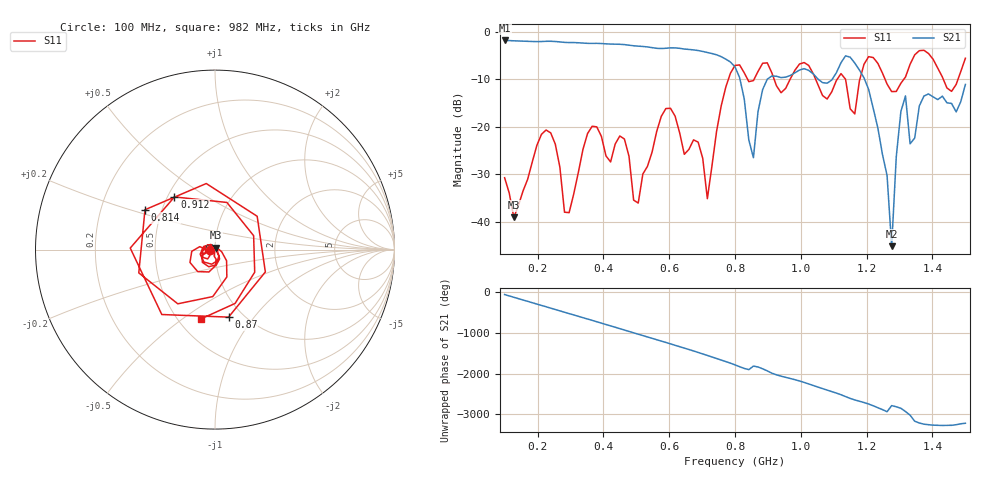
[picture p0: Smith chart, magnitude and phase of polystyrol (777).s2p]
! NanoVNA-App
! Date: 2025-09-25 15:35:56
! Start: 100MHz Stop: 1,5GHz Points: 101
! S-Parameter data: F S11 S21 S12 S22
# Hz S RI R 50
!  Frequency  S11_Real  S11_Imag  S21_Real  S21_Imag  S12_Real  S12_Imag  S22_Real  S22_Imag
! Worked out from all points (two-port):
!   101 points, 100 MHz to 1.5 GHz, reference 50 ohm
!   highest |S21| = -1.80 dB at 100 MHz (marker M1); lowest = -45.1 dB at 1.276 GHz (marker M2)
!   |S21| within 3 dB of the highest: start of sweep to 742.8 MHz
!   lowest |S11| = -39.1 dB at 128 MHz (marker M3), VSWR 1.02, Z = 50.3 + j1.06 ohm
!   |S11| at or under -10 dB: start of sweep to 779.9 MHz; 1.045 GHz to 1.11 GHz (65.22 MHz wide, 6.05 % of centre); 1.256 GHz to 1.313 GHz (56.59 MHz wide, 4.41 % of centre)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
!   S12 and S22 are empty: the file has one direction only
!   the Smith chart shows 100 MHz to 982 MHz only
!   S11 on the Smith chart (normalised r, x): 100 MHz: 0.94, -0.01; 814 MHz: 0.40, +0.22; 870 MHz: 0.86, -0.76; 912 MHz: 0.54, +0.37; 982 MHz: 0.64, -0.59
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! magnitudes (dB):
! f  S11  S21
! 100 MHz  -30.7  -1.8
! 128 MHz  -39.1  -1.9
! 212 MHz  -21.6  -2.0
! 282 MHz  -38.0  -2.2
! 338 MHz  -24.8  -2.3
! 464 MHz  -22.6  -2.7
! 506 MHz  -36.1  -3.0
! 576 MHz  -17.8  -3.5
! 716 MHz  -35.1  -4.3
! 800 MHz  -7.1  -7.4
! 814 MHz  -7.0  -9.6
! 856 MHz  -10.3  -26.5
! 870 MHz  -8.3  -16.7
! 912 MHz  -8.6  -9.3
! 982 MHz  -8.1  -8.6
! 1.038 GHz  -8.9  -8.9
! 1.164 GHz  -17.3  -6.6
! 1.192 GHz  -6.8  -9.7
! 1.276 GHz  -12.6  -45.1
! 1.318 GHz  -9.5  -13.5
! 1.332 GHz  -6.8  -23.6
! 1.5 GHz  -5.6  -11.1
